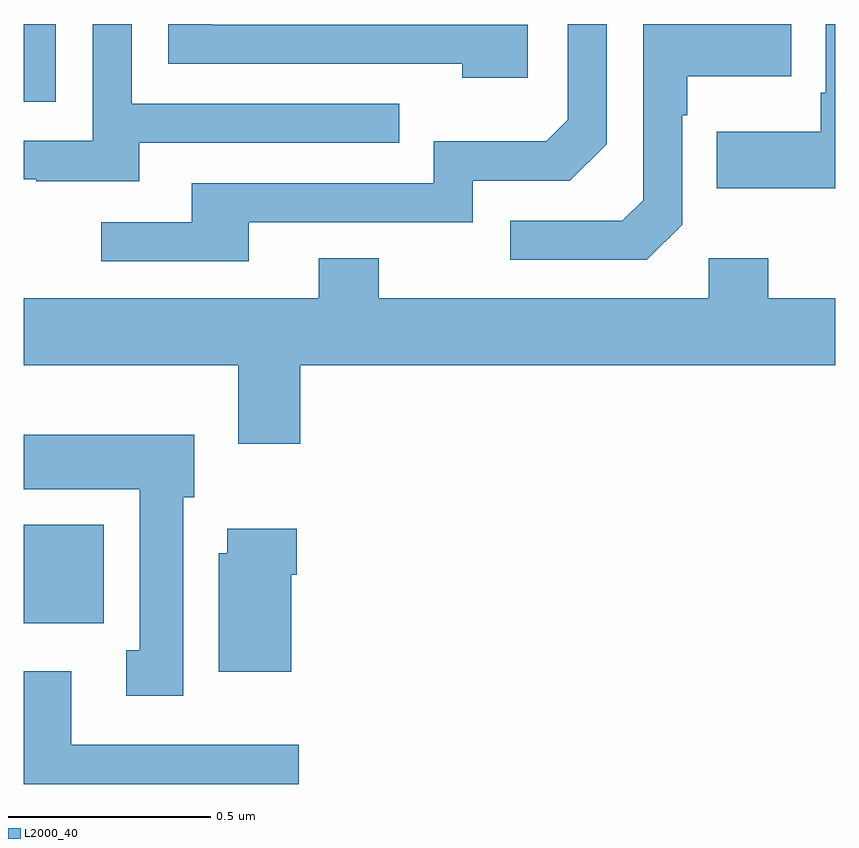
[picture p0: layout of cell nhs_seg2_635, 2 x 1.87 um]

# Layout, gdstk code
import gdstk
lib = gdstk.Library(unit=1e-6, precision=1e-09)
def R(c, l, rs):  # rectangles x0, y0, x1, y1
    for r in rs: c.add(gdstk.rectangle(r[:2], r[2:], *l))
def P(c, l, *ps):  # polygons
    for p in ps: c.add(gdstk.Polygon(p, *l))
L2000_40 = (2000, 40)

nhs_seg2_635 = lib.new_cell('nhs_seg2_635')
R(nhs_seg2_635, L2000_40, [(118.001,656.324,118.198,656.566), (118,657.609,118.08,657.8)])
P(nhs_seg2_635, L2000_40, [(119.622,657.306),(119.622,657.575),(119.635,657.575),(119.635,657.671),(119.891,657.671),(119.891,657.8),(119.526,657.8),(119.526,657.366),(119.475,657.315),(119.199,657.315),(119.199,657.219),(119.535,657.219)],
  [(119.242,657.798),(118.465,657.798),(118.465,657.8),(118.356,657.8),(118.356,657.702),(119.081,657.702),(119.081,657.668),(119.242,657.668)],
  [(120,657.8),(119.976,657.8),(119.976,657.631),(119.964,657.631),(119.964,657.535),(119.707,657.535),(119.707,657.395),(120,657.395)],
  [(118.555,657.312),(119.106,657.312),(119.106,657.414),(119.346,657.414),(119.436,657.504),(119.436,657.8),(119.34,657.8),(119.34,657.564),(119.287,657.511),(119.01,657.511),(119.01,657.408),(118.415,657.408),(118.415,657.312),(118.191,657.312),(118.191,657.216),(118.555,657.216)],
  [(118.285,657.507),(118.925,657.507),(118.925,657.603),(118.266,657.603),(118.266,657.8),(118.17,657.8),(118.17,657.513),(118,657.513),(118,657.417),(118.031,657.417),(118.031,657.413),(118.285,657.413)],
  [(118.682,656.96),(120,656.96),(120,657.124),(119.835,657.124),(119.835,657.223),(119.688,657.223),(119.688,657.124),(118.875,657.124),(118.875,657.223),(118.727,657.223),(118.727,657.124),(118,657.124),(118,656.96),(118.529,656.96),(118.529,656.766),(118.682,656.766)],
  [(118.393,656.634),(118.42,656.634),(118.42,656.788),(118,656.788),(118,656.654),(118.286,656.654),(118.286,656.258),(118.253,656.258),(118.253,656.145),(118.393,656.145)],
  [(118.66,656.444),(118.673,656.444),(118.673,656.557),(118.502,656.557),(118.502,656.496),(118.481,656.496),(118.481,656.204),(118.66,656.204)],
  [(118.678,656.025),(118.117,656.025),(118.117,656.206),(118,656.206),(118,655.928),(118.678,655.928)])

lib.write_gds('nhs_seg2_635.gds')
